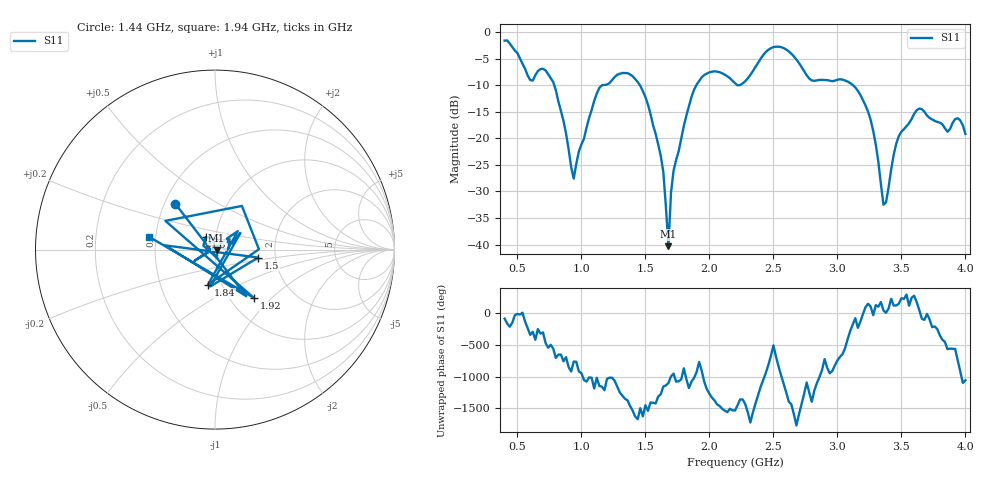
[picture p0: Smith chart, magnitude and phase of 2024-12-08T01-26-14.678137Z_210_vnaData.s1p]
!Created with skrf (http://scikit-rf.org).
# Hz S RI R 50.0
!freq ReS11 ImS11
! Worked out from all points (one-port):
!   181 points, 400 MHz to 4 GHz, reference 50 ohm
!   lowest |S11| = -40.3 dB at 1.68 GHz (marker M1), VSWR 1.02, Z = 50.9 - j0.372 ohm
!   |S11| at or under -10 dB: 787.7 MHz to 1.168 GHz (380.6 MHz wide, 38.9 % of centre); 1.457 GHz to 1.898 GHz (441.2 MHz wide, 26.3 % of centre); 3.122 GHz to end of sweep (the widest 3 of 4)
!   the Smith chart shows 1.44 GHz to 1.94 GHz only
!   S11 on the Smith chart (normalised r, x): 1.44 GHz: 0.57, +0.33; 1.5 GHz: 1.62, -0.15; 1.6 GHz: 0.89, +0.13; 1.84 GHz: 0.86, -0.35; 1.92 GHz: 1.28, -0.79; 1.94 GHz: 0.46, +0.08
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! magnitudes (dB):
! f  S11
! 400 MHz  -1.6
! 600 MHz  -9.0
! 720 MHz  -7.2
! 860 MHz  -16.7
! 940 MHz  -27.6
! 1.12 GHz  -11.6
! 1.3 GHz  -7.9
! 1.44 GHz  -9.4
! 1.5 GHz  -12.2
! 1.6 GHz  -21.2
! 1.64 GHz  -26.3
! 1.68 GHz  -40.3
! 1.7 GHz  -30.2
! 1.76 GHz  -22.4
! 1.84 GHz  -14.0
! 1.92 GHz  -9.2
! 1.94 GHz  -8.5
! 2.2 GHz  -9.6
! 2.48 GHz  -3.0
! 2.66 GHz  -4.6
! 2.8 GHz  -9.1
! 3.1 GHz  -9.6
! 3.26 GHz  -16.5
! 3.36 GHz  -32.5
! 3.46 GHz  -21.0
! 3.56 GHz  -17.2
! 3.66 GHz  -14.5
! 4 GHz  -19.2
